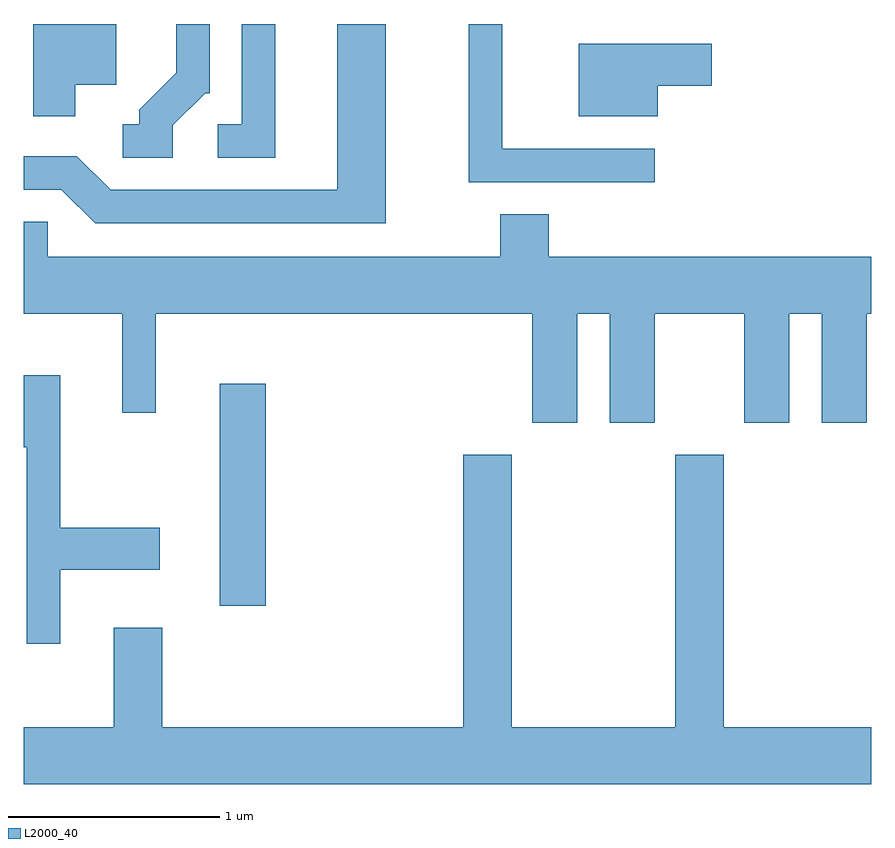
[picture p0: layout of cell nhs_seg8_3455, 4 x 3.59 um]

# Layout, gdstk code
import gdstk
lib = gdstk.Library(unit=1e-6, precision=1e-09)
def R(c, l, rs):  # rectangles x0, y0, x1, y1
    for r in rs: c.add(gdstk.rectangle(r[:2], r[2:], *l))
def P(c, l, *ps):  # polygons
    for p in ps: c.add(gdstk.Polygon(p, *l))
L2000_40 = (2000, 40)

nhs_seg8_3455 = lib.new_cell('nhs_seg8_3455')
R(nhs_seg8_3455, L2000_40, [(288.536,1941.596,288.754,1942.644)])
P(nhs_seg8_3455, L2000_40, [(287.854,1944.056),(288.049,1944.056),(288.049,1944.342),(287.656,1944.342),(287.656,1943.906),(287.854,1943.906)],
  [(289.319,1944.342),(289.091,1944.342),(289.091,1943.559),(288.022,1943.559),(287.862,1943.719),(287.611,1943.719),(287.611,1943.561),(287.789,1943.561),(287.949,1943.401),(289.319,1943.401)],
  [(288.314,1943.864),(288.467,1944.016),(288.489,1944.016),(288.489,1944.342),(288.331,1944.342),(288.331,1944.112),(288.156,1943.937),(288.156,1943.869),(288.078,1943.869),(288.078,1943.711),(288.314,1943.711)],
  [(290.588,1943.754),(289.869,1943.754),(289.869,1944.342),(289.711,1944.342),(289.711,1943.596),(290.588,1943.596)],
  [(288.799,1944.342),(288.641,1944.342),(288.641,1943.869),(288.528,1943.869),(288.528,1943.711),(288.799,1943.711)],
  [(290.604,1944.051),(290.859,1944.051),(290.859,1944.249),(290.231,1944.249),(290.231,1943.906),(290.604,1943.906)],
  [(290.224,1942.976),(290.376,1942.976),(290.376,1942.461),(290.589,1942.461),(290.589,1942.976),(291.011,1942.976),(291.011,1942.461),(291.224,1942.461),(291.224,1942.976),(291.376,1942.976),(291.376,1942.461),(291.589,1942.461),(291.589,1942.976),(291.611,1942.976),(291.611,1943.244),(290.089,1943.244),(290.089,1943.444),(289.861,1943.444),(289.861,1943.244),(287.724,1943.244),(287.724,1943.409),(287.611,1943.409),(287.611,1942.976),(288.076,1942.976),(288.076,1942.508),(288.234,1942.508),(288.234,1942.976),(290.011,1942.976),(290.011,1942.461),(290.224,1942.461)],
  [(287.784,1941.766),(288.254,1941.766),(288.254,1941.964),(287.784,1941.964),(287.784,1942.684),(287.611,1942.684),(287.611,1942.346),(287.626,1942.346),(287.626,1941.418),(287.784,1941.418)],
  [(291.611,1941.024),(290.914,1941.024),(290.914,1942.309),(290.686,1942.309),(290.686,1941.024),(289.914,1941.024),(289.914,1942.309),(289.686,1942.309),(289.686,1941.024),(288.264,1941.024),(288.264,1941.494),(288.036,1941.494),(288.036,1941.024),(287.611,1941.024),(287.611,1940.756),(291.611,1940.756)])

lib.write_gds('nhs_seg8_3455.gds')
